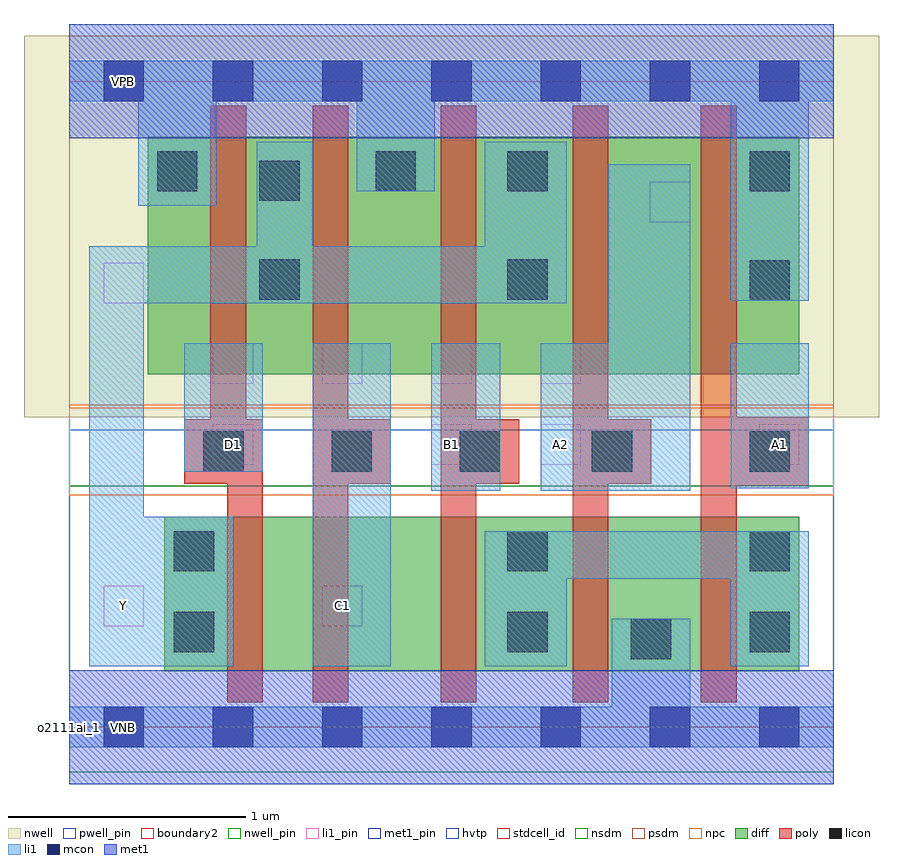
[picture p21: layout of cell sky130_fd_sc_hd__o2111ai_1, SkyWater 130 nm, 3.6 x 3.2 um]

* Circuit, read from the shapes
.subckt sky130_fd_sc_hd__o2111ai_1 A1 A2 B1 C1 D1 VGND VNB VPB VPWR Y
XM1 n1 D1 Y VNB sky130_fd_pr__nfet_01v8 w=0.65 l=0.15
XM2 n2 C1 n1 VNB sky130_fd_pr__nfet_01v8 w=0.65 l=0.15
XM3 n3 B1 n2 VNB sky130_fd_pr__nfet_01v8 w=0.65 l=0.15
XM4 VGND A2 n3 VNB sky130_fd_pr__nfet_01v8 w=0.65 l=0.15
XM5 n3 A1 VGND VNB sky130_fd_pr__nfet_01v8 w=0.65 l=0.15
XM6 Y D1 VPWR VPB sky130_fd_pr__pfet_01v8_hvt w=1 l=0.15
XM7 VPWR C1 Y VPB sky130_fd_pr__pfet_01v8_hvt w=1 l=0.15
XM8 Y B1 VPWR VPB sky130_fd_pr__pfet_01v8_hvt w=1 l=0.15
XM9 n4 A2 Y VPB sky130_fd_pr__pfet_01v8_hvt w=1 l=0.15
XM10 VPWR A1 n4 VPB sky130_fd_pr__pfet_01v8_hvt w=1 l=0.15
.ends

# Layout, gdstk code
import gdstk
lib = gdstk.Library(unit=1e-6, precision=1e-09)
def R(c, l, rs):  # rectangles x0, y0, x1, y1
    for r in rs: c.add(gdstk.rectangle(r[:2], r[2:], *l))
def A(c, l, x, y, w, h, nx, ny, dx, dy):  # array of equal rectangles
    R(c, l, [(x+i*dx, y+j*dy, x+i*dx+w, y+j*dy+h) for i in range(nx) for j in range(ny)])
def P(c, l, *ps):  # polygons
    for p in ps: c.add(gdstk.Polygon(p, *l))
nwell_pin = (64, 16)
nwell = (64, 20)
diff = (65, 20)
poly = (66, 20)
licon = (66, 44)
li1_pin = (67, 16)
li1 = (67, 20)
mcon = (67, 44)
met1_pin = (68, 16)
met1 = (68, 20)
hvtp = (78, 44)
stdcell_id = (81, 4)
nsdm = (93, 44)
psdm = (94, 20)
npc = (95, 20)
pwell_pin = (122, 16)
boundary2 = (236, 0)

sky130_fd_sc_hd__o2111ai = lib.new_cell('sky130_fd_sc_hd__o2111ai_1')
R(sky130_fd_sc_hd__o2111ai, nwell_pin, [(0.145,2.635,0.315,2.805)])
R(sky130_fd_sc_hd__o2111ai, nwell, [(-0.19,1.305,3.41,2.91)])
R(sky130_fd_sc_hd__o2111ai, diff, [(0.4,0.235,3.075,0.885), (0.33,1.485,3.075,2.485)])
R(sky130_fd_sc_hd__o2111ai, poly, [(2.81,1.015,3.115,1.025), (2.81,1.295,3.115,1.305)])
P(sky130_fd_sc_hd__o2111ai, poly, [(0.815,1.295),(0.745,1.295),(0.745,2.615),(0.595,2.615),(0.595,1.295),(0.485,1.295),(0.485,1.025),(0.665,1.025),(0.665,0.105),(0.815,0.105)],
  [(1.355,1.295),(1.175,1.295),(1.175,2.615),(1.025,2.615),(1.025,0.105),(1.175,0.105),(1.175,1.025),(1.355,1.025)],
  [(1.895,1.295),(1.715,1.295),(1.715,2.615),(1.565,2.615),(1.565,0.105),(1.715,0.105),(1.715,1.025),(1.895,1.025)],
  [(2.45,1.295),(2.27,1.295),(2.27,2.615),(2.12,2.615),(2.12,0.105),(2.27,0.105),(2.27,1.025),(2.45,1.025)],
  [(3.115,1.295),(2.81,1.295),(2.81,2.615),(2.66,2.615),(2.66,0.105),(2.81,0.105),(2.81,1.025),(3.115,1.025)])
A(sky130_fd_sc_hd__o2111ai, licon, 0.565, 1.075, 0.17, 0.17, 3, 1, 0.54, 0)
R(sky130_fd_sc_hd__o2111ai, licon, [(2.365,0.285,2.535,0.455), (0.44,0.315,0.61,0.485), (1.845,0.315,2.015,0.485), (2.865,0.315,3.035,0.485), (0.44,0.655,0.61,0.825), (1.845,0.655,2.015,0.825), (2.865,0.655,3.035,0.825), (2.2,1.075,2.37,1.245), (2.865,1.075,3.035,1.245), (2.865,1.795,3.035,1.965), (0.8,1.8,0.97,1.97), (1.845,1.8,2.015,1.97), (0.8,2.215,0.97,2.385), (0.37,2.255,0.54,2.425), (1.29,2.255,1.46,2.425), (1.845,2.255,2.015,2.425), (2.865,2.255,3.035,2.425)])
A(sky130_fd_sc_hd__o2111ai, li1_pin, 0.605, 1.445, 0.17, 0.17, 4, 1, 0.46, 0)
R(sky130_fd_sc_hd__o2111ai, li1_pin, [(0.145,0.425,0.315,0.595), (1.065,0.425,1.235,0.595), (0.605,1.105,0.775,1.275), (1.525,1.105,1.695,1.275), (1.985,1.105,2.155,1.275), (2.905,1.105,3.075,1.275), (0.145,1.785,0.315,1.955), (2.445,2.125,2.615,2.295)])
R(sky130_fd_sc_hd__o2111ai, li1, [(1.025,0.255,1.355,1.615), (1.525,0.995,1.815,1.615), (2.785,1.005,3.115,1.615), (0.485,1.075,0.815,1.615)])
P(sky130_fd_sc_hd__o2111ai, li1, [(3.22,0.085),(2.615,0.085),(2.615,0.455),(2.285,0.455),(2.285,0.085),(0,0.085),(0,-0.085),(3.22,-0.085)],
  [(3.22,2.805),(0,2.805),(0,2.635),(0.29,2.635),(0.29,2.195),(0.62,2.195),(0.62,2.635),(1.21,2.635),(1.21,2.255),(1.54,2.255),(1.54,2.635),(2.785,2.635),(2.785,1.795),(3.115,1.795),(3.115,2.635),(3.22,2.635)],
  [(3.115,0.825),(1.75,0.825),(1.75,0.255),(2.095,0.255),(2.095,0.625),(2.785,0.625),(2.785,0.255),(3.115,0.255)],
  [(2.095,2.465),(1.75,2.465),(1.75,2.025),(1.025,2.025),(1.025,2.465),(0.79,2.465),(0.79,2.025),(0.085,2.025),(0.085,0.255),(0.69,0.255),(0.69,0.885),(0.315,0.885),(0.315,1.785),(2.095,1.785)],
  [(2.615,2.37),(2.27,2.37),(2.27,1.615),(1.985,1.615),(1.985,0.995),(2.615,0.995)])
A(sky130_fd_sc_hd__o2111ai, mcon, 0.145, -0.085, 0.17, 0.17, 7, 2, 0.46, 2.72)
R(sky130_fd_sc_hd__o2111ai, met1_pin, [(0.145,-0.085,0.315,0.085), (0.145,2.635,0.315,2.805)])
R(sky130_fd_sc_hd__o2111ai, hvtp, [(0,1.25,3.22,2.72)])
R(sky130_fd_sc_hd__o2111ai, stdcell_id, [(0,0,3.22,2.72)])
R(sky130_fd_sc_hd__o2111ai, nsdm, [(0,-0.19,3.22,1.015)])
R(sky130_fd_sc_hd__o2111ai, psdm, [(0,1.355,3.22,2.91)])
R(sky130_fd_sc_hd__o2111ai, npc, [(0,0.975,3.22,1.345)])
R(sky130_fd_sc_hd__o2111ai, pwell_pin, [(0.145,-0.085,0.315,0.085)])
R(sky130_fd_sc_hd__o2111ai, boundary2, [(0,0,3.22,2.72)])
sky130_fd_sc_hd__o2111ai.add(gdstk.FlexPath([(0,2.72),(3.22,2.72)], 0.48, ends="flush", simple_path=True, layer=68, datatype=20))  # met1
sky130_fd_sc_hd__o2111ai.add(gdstk.FlexPath([(0,0),(3.22,0)], 0.48, ends="flush", simple_path=True, layer=68, datatype=20))  # met1
sky130_fd_sc_hd__o2111ai.add(gdstk.Label('D1', (0.69,1.19), layer=67, texttype=5))
sky130_fd_sc_hd__o2111ai.add(gdstk.Label('C1', (1.15,0.51), layer=67, texttype=5))
sky130_fd_sc_hd__o2111ai.add(gdstk.Label('A2', (2.07,1.19), layer=67, texttype=5))
sky130_fd_sc_hd__o2111ai.add(gdstk.Label('A1', (2.99,1.19), layer=67, texttype=5))
sky130_fd_sc_hd__o2111ai.add(gdstk.Label('B1', (1.61,1.19), layer=67, texttype=5))
sky130_fd_sc_hd__o2111ai.add(gdstk.Label('Y', (0.23,0.51), layer=67, texttype=5))
sky130_fd_sc_hd__o2111ai.add(gdstk.Label('VPB', (0.23,2.72), layer=64, texttype=5))
sky130_fd_sc_hd__o2111ai.add(gdstk.Label('VNB', (0.23,0), layer=64, texttype=59))
sky130_fd_sc_hd__o2111ai.add(gdstk.Label('VGND', (0.23,0), layer=68, texttype=5))
sky130_fd_sc_hd__o2111ai.add(gdstk.Label('VPWR', (0.23,2.72), layer=68, texttype=5))
sky130_fd_sc_hd__o2111ai.add(gdstk.Label('o2111ai_1', (0,0), layer=83, texttype=44))

lib.write_gds('sky130_fd_sc_hd__o2111ai_1.gds')
